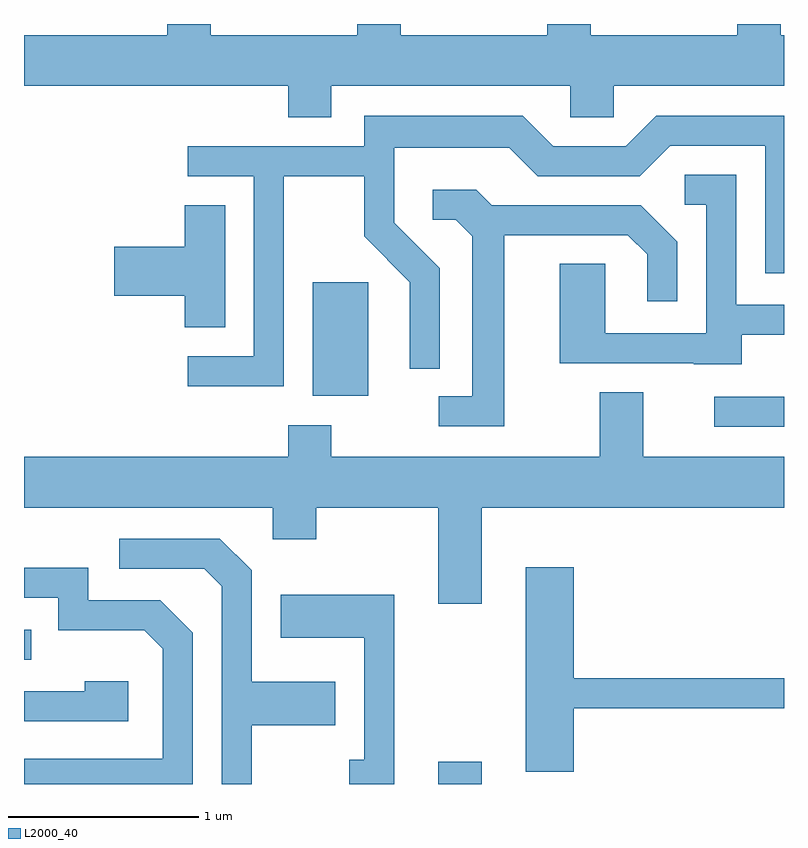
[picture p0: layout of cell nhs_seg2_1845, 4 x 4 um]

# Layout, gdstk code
import gdstk
lib = gdstk.Library(unit=1e-6, precision=1e-09)
def R(c, l, rs):  # rectangles x0, y0, x1, y1
    for r in rs: c.add(gdstk.rectangle(r[:2], r[2:], *l))
def P(c, l, *ps):  # polygons
    for p in ps: c.add(gdstk.Polygon(p, *l))
L2000_40 = (2000, 40)

nhs_seg2_1845 = lib.new_cell('nhs_seg2_1845')
R(nhs_seg2_1845, L2000_40, [(241.791,995.802,242.019,995.919), (239.611,996.456,239.648,996.614), (243.243,997.681,243.611,997.839), (241.131,997.846,241.424,998.444)])
P(nhs_seg2_1845, L2000_40, [(241.229,999.476),(242.486,999.476),(242.486,999.311),(242.714,999.311),(242.714,999.476),(243.611,999.476),(243.611,999.744),(243.594,999.744),(243.594,999.802),(243.366,999.802),(243.366,999.744),(242.594,999.744),(242.594,999.802),(242.366,999.802),(242.366,999.744),(241.594,999.744),(241.594,999.802),(241.366,999.802),(241.366,999.744),(240.594,999.744),(240.594,999.802),(240.366,999.802),(240.366,999.744),(239.611,999.744),(239.611,999.476),(241.001,999.476),(241.001,999.311),(241.229,999.311)],
  [(240.979,999.001),(241.401,999.001),(241.401,998.684),(241.641,998.444),(241.641,997.988),(241.799,997.988),(241.799,998.517),(241.559,998.757),(241.559,999.151),(242.164,999.151),(242.314,999.001),(242.852,999.001),(243.012,999.161),(243.511,999.161),(243.511,998.491),(243.611,998.491),(243.611,999.319),(242.939,999.319),(242.779,999.159),(242.397,999.159),(242.237,999.319),(241.401,999.319),(241.401,999.159),(240.473,999.159),(240.473,999.001),(240.821,999.001),(240.821,998.054),(240.473,998.054),(240.473,997.896),(240.979,997.896)],
  [(243.389,998.166),(243.611,998.166),(243.611,998.324),(243.359,998.324),(243.359,999.009),(243.088,999.009),(243.088,998.851),(243.201,998.851),(243.201,998.174),(242.669,998.174),(242.669,998.539),(242.431,998.539),(242.431,998.016),(243.135,998.016),(243.135,998.011),(243.389,998.011)],
  [(242.139,998.691),(242.789,998.691),(242.891,998.589),(242.891,998.343),(243.049,998.343),(243.049,998.657),(242.857,998.849),(242.072,998.849),(241.992,998.929),(241.763,998.929),(241.763,998.771),(241.884,998.771),(241.971,998.684),(241.971,997.844),(241.793,997.844),(241.793,997.686),(242.139,997.686)],
  [(240.669,998.849),(240.456,998.849),(240.456,998.629),(240.086,998.629),(240.086,998.371),(240.456,998.371),(240.456,998.206),(240.669,998.206)],
  [(242.019,997.256),(243.611,997.256),(243.611,997.524),(242.869,997.524),(242.869,997.864),(242.641,997.864),(242.641,997.524),(241.229,997.524),(241.229,997.689),(241.001,997.689),(241.001,997.524),(239.611,997.524),(239.611,997.256),(240.921,997.256),(240.921,997.091),(241.149,997.091),(241.149,997.256),(241.791,997.256),(241.791,996.751),(242.019,996.751)],
  [(240.809,996.111),(241.249,996.111),(241.249,996.339),(240.809,996.339),(240.809,996.927),(240.642,997.094),(240.113,997.094),(240.113,996.936),(240.559,996.936),(240.651,996.844),(240.651,995.802),(240.809,995.802)],
  [(242.504,996.201),(243.611,996.201),(243.611,996.359),(242.504,996.359),(242.504,996.944),(242.251,996.944),(242.251,995.866),(242.504,995.866)],
  [(240.499,996.597),(240.327,996.769),(239.949,996.769),(239.949,996.939),(239.611,996.939),(239.611,996.781),(239.791,996.781),(239.791,996.611),(240.244,996.611),(240.341,996.514),(240.341,995.934),(239.611,995.934),(239.611,995.802),(240.499,995.802)],
  [(241.559,996.799),(240.961,996.799),(240.961,996.571),(241.401,996.571),(241.401,995.929),(241.323,995.929),(241.323,995.802),(241.559,995.802)],
  [(240.159,996.344),(239.931,996.344),(239.931,996.289),(239.611,996.289),(239.611,996.131),(240.159,996.131)])

lib.write_gds('nhs_seg2_1845.gds')
